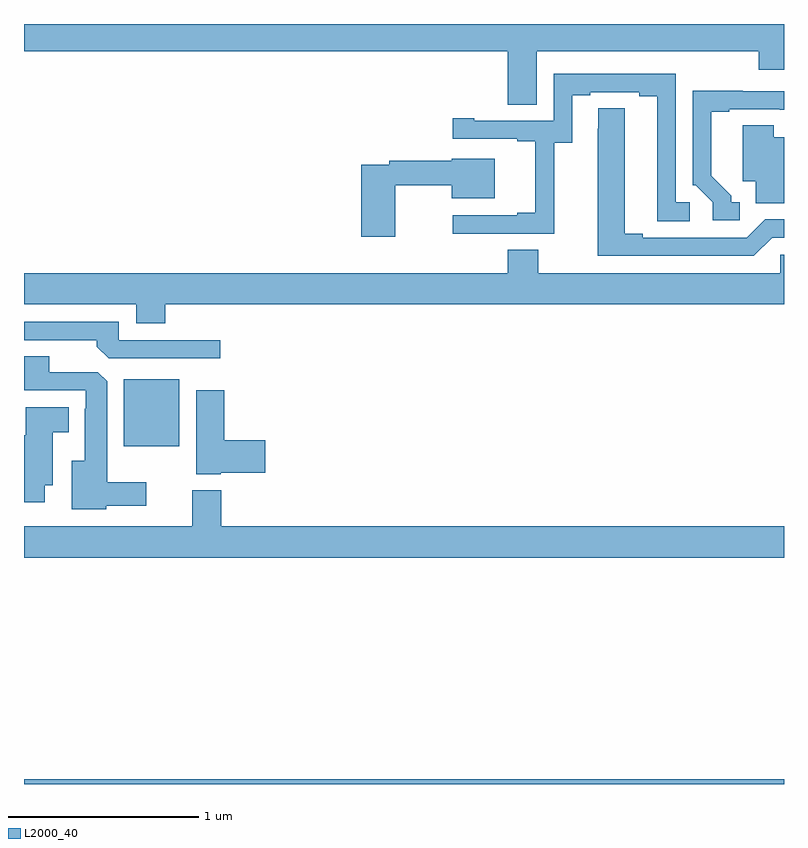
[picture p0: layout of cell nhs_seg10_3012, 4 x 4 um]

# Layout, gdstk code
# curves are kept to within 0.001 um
import gdstk
lib = gdstk.Library(unit=1e-6, precision=1e-09)
def R(c, l, rs):  # rectangles x0, y0, x1, y1
    for r in rs: c.add(gdstk.rectangle(r[:2], r[2:], *l))
def P(c, l, *ps):  # polygons
    for p in ps: c.add(gdstk.Polygon(p, *l))
L2000_40 = (2000, 40)

nhs_seg10_3012 = lib.new_cell('nhs_seg10_3012')
R(nhs_seg10_3012, L2000_40, [(275,1256.5,279,1256.524), (275.525,1258.277,275.818,1258.63)])
P(nhs_seg10_3012, L2000_40, [(277.699,1260.356),(278.867,1260.356),(278.867,1260.258),(279,1260.258),(279,1260.5),(275,1260.5),(275,1260.356),(277.547,1260.356),(277.547,1260.076),(277.699,1260.076)],
  [(277.791,1259.875),(277.885,1259.875),(277.885,1260.126),(277.981,1260.126),(277.981,1260.141),(278.237,1260.141),(278.237,1260.121),(278.333,1260.121),(278.333,1259.461),(278.503,1259.461),(278.503,1259.562),(278.43,1259.562),(278.43,1260.237),(277.788,1260.237),(277.788,1259.991),(277.369,1259.991),(277.369,1260.004),(277.257,1260.004),(277.257,1259.895),(277.595,1259.895),(277.595,1259.883),(277.691,1259.883),(277.691,1259.506),(277.595,1259.506),(277.595,1259.493),(277.257,1259.493),(277.257,1259.397),(277.791,1259.397)],
  [(278.767,1259.562),(278.722,1259.562),(278.722,1259.597),(278.617,1259.702),(278.617,1260.039),(278.713,1260.039),(278.713,1260.051),(279,1260.05),(279,1260.147),(278.783,1260.147),(278.783,1260.149),(278.52,1260.149),(278.52,1259.652),(278.535,1259.652),(278.625,1259.562),(278.625,1259.466),(278.767,1259.466)],
  [(278.937,1259.376),(279,1259.376),(279,1259.472),(278.901,1259.472),(278.805,1259.376),(278.257,1259.376),(278.257,1259.396),(278.161,1259.396),(278.161,1260.056),(278.022,1260.056),(278.021,1259.28),(278.841,1259.28)],
  [(279,1259.905),(278.947,1259.905),(278.947,1259.966),(278.783,1259.966),(278.783,1259.672),(278.852,1259.672),(278.852,1259.557),(279,1259.557)],
  [(276.954,1259.652),(277.25,1259.652),(277.25,1259.582),(277.477,1259.582),(277.477,1259.791),(277.25,1259.791),(277.25,1259.78),(276.922,1259.78),(276.922,1259.76),(276.776,1259.76),(276.776,1259.379),(276.954,1259.379)],
  [(275.744,1259.024),(279,1259.024),(279,1259.286),(278.979,1259.286),(278.979,1259.188),(277.707,1259.188),(277.707,1259.312),(277.547,1259.312),(277.547,1259.188),(275,1259.188),(275,1259.024),(275.591,1259.024),(275.591,1258.925),(275.744,1258.925)],
  [(276.034,1258.836),(275.499,1258.836),(275.499,1258.932),(275,1258.932),(275,1258.836),(275.384,1258.836),(275.384,1258.802),(275.445,1258.74),(276.034,1258.74)],
  [(275.433,1257.965),(275.644,1257.965),(275.644,1258.087),(275.437,1258.087),(275.437,1258.619),(275.388,1258.668),(275.134,1258.668),(275.134,1258.751),(275,1258.751),(275,1258.572),(275.325,1258.572),(275.325,1258.475),(275.321,1258.475),(275.321,1258.201),(275.252,1258.201),(275.252,1257.947),(275.433,1257.947)],
  [(276.036,1258.139),(276.271,1258.139),(276.271,1258.31),(276.053,1258.31),(276.053,1258.573),(275.906,1258.573),(275.906,1258.13),(276.036,1258.13)],
  [(275.11,1258.073),(275.152,1258.073),(275.152,1258.352),(275.236,1258.352),(275.236,1258.483),(275.009,1258.483),(275.009,1258.336),(275,1258.336),(275,1257.984),(275.11,1257.984)],
  [(279,1257.856),(276.038,1257.856),(276.038,1258.045),(275.885,1258.045),(275.885,1257.856),(275,1257.856),(275,1257.692),(279,1257.692)])

lib.write_gds('nhs_seg10_3012.gds')
